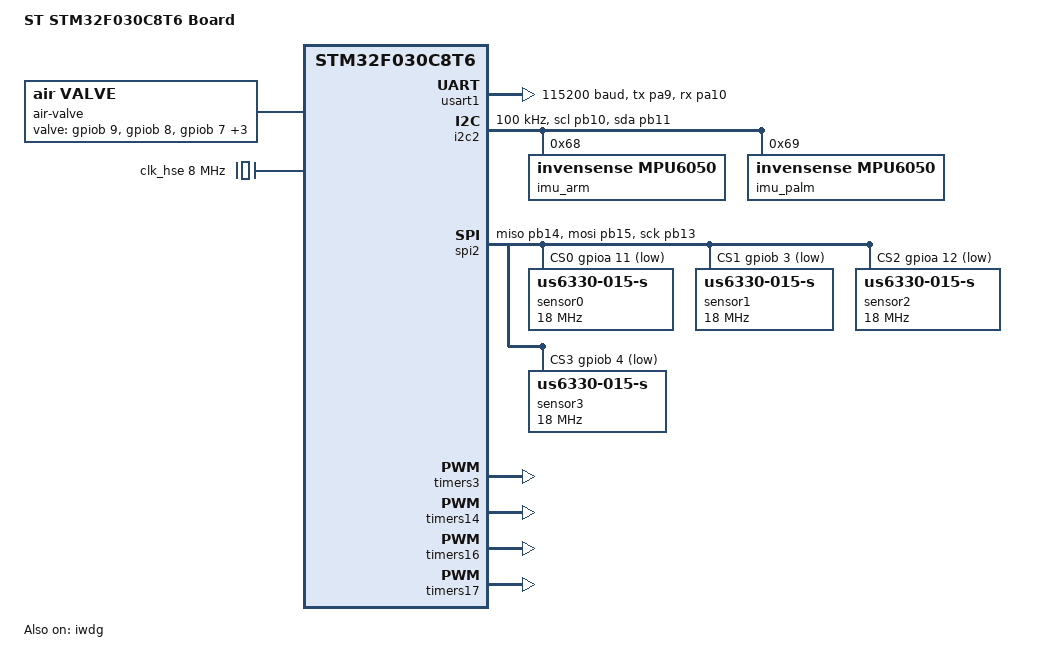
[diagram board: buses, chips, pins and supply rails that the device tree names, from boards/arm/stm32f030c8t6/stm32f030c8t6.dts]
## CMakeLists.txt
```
# SPDX-License-Identifier: Apache-2.0

cmake_minimum_required(VERSION 3.20.0)

#set(CMAKE_C_FLAGS "${CMAKE_C_FLAGS} -save-temps=obj")
set(BOARD_ROOT ${CMAKE_CURRENT_LIST_DIR})

find_package(Zephyr REQUIRED HINTS $ENV{ZEPHYR_BASE})
project(FlexiAssistGlove)

target_include_directories(app PRIVATE ${ZEPHYR_BASE}/include/zephyr)

target_include_directories(app PRIVATE src/app/sensor)
target_include_directories(app PRIVATE src/app/imu)

FILE(GLOB sensor src/app/sensor/*.c)
FILE(GLOB imu src/app/imu/*.c)

target_sources(app PRIVATE ${sensor})
target_sources(app PRIVATE ${imu})
target_sources(app PRIVATE src/main.c)
```

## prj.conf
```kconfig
CONFIG_GPIO=y

CONFIG_PRINTK=y
CONFIG_STDOUT_CONSOLE=y

CONFIG_MAIN_STACK_SIZE=4096

CONFIG_I2C=y
CONFIG_SENSOR=y
CONFIG_MPU6050_TRIGGER_NONE=y
CONFIG_CBPRINTF_FP_SUPPORT=y

CONFIG_SPI=y

CONFIG_PWM=y
```

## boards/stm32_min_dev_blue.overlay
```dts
/ {
	/delete-node/leds;
	/delete-node/aliases;

	aliases {
		uart1 = &usart1;
	};
};

&usart1 {
	pinctrl-0 = <&usart1_tx_pa9 &usart1_rx_pa10>;
	current-speed = <115200>;
	pinctrl-names = "default";
	status = "okay";
};

&i2c2 {
	pinctrl-0 = <&i2c2_scl_pb10 &i2c2_sda_pb11>;
	pinctrl-names = "default";
	status = "okay";
	clock-frequency = <I2C_BITRATE_FAST>;

	imu_arm: mpu6050@68 {
		compatible = "invensense,mpu6050";
		reg = <0x68>;
		status = "okay";
	};
	imu_palm: mpu6050@69 {
		compatible = "invensense,mpu6050";
		reg = <0x69>;
		status = "okay";
	};
};


&spi2 {
	status = "okay";
	pinctrl-0 = <&spi2_sck_master_pb13
	&spi2_miso_master_pb14 &spi2_mosi_master_pb15>;
	pinctrl-names = "default";

	cs-gpios = <&gpioa 11 GPIO_ACTIVE_LOW>,
	           <&gpiob 3  GPIO_ACTIVE_LOW>,
	           <&gpioa 12 GPIO_ACTIVE_LOW>,
	           <&gpiob 4  GPIO_ACTIVE_LOW>;

	sensor0: sensor0@0 {
		status = "okay";
		compatible = "us6330-015-s";
		reg = <0>;
		spi-max-frequency = <18000000>;
	};
	sensor1: sensor1@1 {
		status = "okay";
		compatible = "us6330-015-s";
		reg = <1>;
		spi-max-frequency = <18000000>;
	};
	sensor2: sensor2@2 {
		status = "okay";
		compatible = "us6330-015-s";
		reg = <2>;
		spi-max-frequency = <18000000>;
	};
	sensor3: sensor3@3 {
		status = "okay";
		compatible = "us6330-015-s";
		reg = <3>;
		spi-max-frequency = <18000000>;
	};
};

&timers1 {
	status = "okay";

	pwm1: pwm {
		status = "okay";
		pinctrl-0 = <&tim1_ch1n_remap1_pwm_out_pa7>;
		pinctrl-names = "default";
	};
};
&timers2 {
	status = "okay";

	pwm2: pwm {
		status = "okay";
		pinctrl-0 = <&tim2_ch1_remap1_pwm_out_pa15>;
		pinctrl-names = "default";
	};
};

&timers3 {
	status = "okay";

	pwm3: pwm {
		status = "okay";
		pinctrl-0 = <&tim3_ch1_pwm_out_pa6 &tim3_ch2_remap1_pwm_out_pb5>;
		pinctrl-names = "default";
	};
};
&timers4 {
	status = "okay";

	pwm4: pwm {
		status = "okay";
		pinctrl-0 = <&tim4_ch1_pwm_out_pb6 &tim4_ch2_pwm_out_pb7 &tim4_ch3_pwm_out_pb8 &tim4_ch4_pwm_out_pb9>;
		pinctrl-names = "default";
	};
};


&usb {status = "disabled";};
&adc1 {status = "disabled";};
&usart2 {status = "disabled";};
&usart3 {status = "disabled";};
&i2c1 {status = "disabled";};
&spi1 {status = "disabled";};
```

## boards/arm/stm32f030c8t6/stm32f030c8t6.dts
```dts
/*
 * Copyright (c) 2022, TOKITA Hiroshi <tokita.hiroshi@gmail.com>
 * SPDX-License-Identifier: Apache-2.0
 */

/dts-v1/;

#include <st/f0/stm32f030X8.dtsi>
#include <st/f0/stm32f030c8tx-pinctrl.dtsi>

/ {
	model = "ST STM32F030C8T6 Board";
	compatible = "st,stm32f030c8t6";

	chosen {
		zephyr,console = &usart1;
		zephyr,shell-uart = &usart1;
		zephyr,sram = &sram0;
		zephyr,flash = &flash0;
	};
	air-valve {
		compatible = "air,valve";
		valve-gpios = <&gpiob 9  GPIO_ACTIVE_HIGH>,    // valve1
		<&gpiob 8  GPIO_ACTIVE_HIGH>,    // valve2
		<&gpiob 7  GPIO_ACTIVE_HIGH>,    // valve3
		<&gpiob 6 GPIO_ACTIVE_HIGH>,    // valve4
		<&gpiob 5 GPIO_ACTIVE_HIGH>,    // valve5
		<&gpioa 15 GPIO_ACTIVE_HIGH>;    // valve6
	};
};

&clk_hse {
	clock-frequency = <DT_FREQ_M(8)>;
	status = "okay";
};

&pll {
	prediv = <1>;
	mul = <6>;
	clocks = <&clk_hse>;
	status = "okay";
};

&rcc {
	clocks = <&pll>;
	clock-frequency = <DT_FREQ_M(48)>;
	ahb-prescaler = <1>;
	apb1-prescaler = <1>;
};

&usart1 {
	pinctrl-0 = <&usart1_tx_pa9 &usart1_rx_pa10>;
	pinctrl-names = "default";
	current-speed = <115200>;
	status = "okay";
};
&iwdg {
	status = "okay";
};

&i2c2 {
	pinctrl-0 = <&i2c2_scl_pb10 &i2c2_sda_pb11>;
	status = "okay";
	pinctrl-names = "default";
	clock-frequency = <I2C_BITRATE_STANDARD>;

	imu_arm: mpu6050@68 {
		compatible = "invensense,mpu6050";
		reg = <0x68>;
		status = "okay";
	};
	imu_palm: mpu6050@69 {
		compatible = "invensense,mpu6050";
		reg = <0x69>;
		status = "okay";
	};
};
&spi2 {
	status = "okay";
	pinctrl-0 = <&spi2_miso_pb14 &spi2_mosi_pb15 &spi2_sck_pb13>;
	pinctrl-names = "default";
	cs-gpios = <&gpioa 11 GPIO_ACTIVE_LOW>,
	           <&gpiob 3  GPIO_ACTIVE_LOW>,
	           <&gpioa 12 GPIO_ACTIVE_LOW>,
	           <&gpiob 4  GPIO_ACTIVE_LOW>;

	sensor0: sensor0@0 {
		status = "okay";
		compatible = "us6330-015-s";
		reg = <0>;
		spi-max-frequency = <18000000>;
	};
	sensor1: sensor1@1 {
		status = "okay";
		compatible = "us6330-015-s";
		reg = <1>;
		spi-max-frequency = <18000000>;
	};
	sensor2: sensor2@2 {
		status = "okay";
		compatible = "us6330-015-s";
		reg = <2>;
		spi-max-frequency = <18000000>;
	};
	sensor3: sensor3@3 {
		status = "okay";
		compatible = "us6330-015-s";
		reg = <3>;
		spi-max-frequency = <18000000>;
	};
};

&timers3 {
	status = "okay";

	pwm1: pwm {
		compatible = "st,stm32-pwm";
		status = "okay";
		pinctrl-0 = <&tim3_ch1_pa6 &tim3_ch2_pb5>;
		pinctrl-names = "default";
		#pwm-cells = <3>;
	};
};

&timers14 {
	status = "okay";

	pwm2: pwm {
		compatible = "st,stm32-pwm";
		status = "okay";
		pinctrl-0 = <&tim14_ch1_pa7>;
		pinctrl-names = "default";
		#pwm-cells = <3>;
	};
};
&timers16 {
	status = "okay";

	pwm3: pwm {
		compatible = "st,stm32-pwm";
		status = "okay";
		pinctrl-0 = <&tim16_ch1_pb8>;
		pinctrl-names = "default";
		#pwm-cells = <3>;
	};
};

&timers17 {
	status = "okay";

	pwm4: pwm {
		compatible = "st,stm32-pwm";
		status = "okay";
		pinctrl-0 = <&tim17_ch1_pb9>;
		pinctrl-names = "default";
		#pwm-cells = <3>;
	};
};
```

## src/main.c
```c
#include <stdio.h>

#include <zephyr/kernel.h>

#include "air_sensor.h"
#include "imu.h"
#include "pwm.h"

int main(void)
{

	pwm_device_init();
	air_sensor_init();
	// imu_init();

	return 0;
}
```
